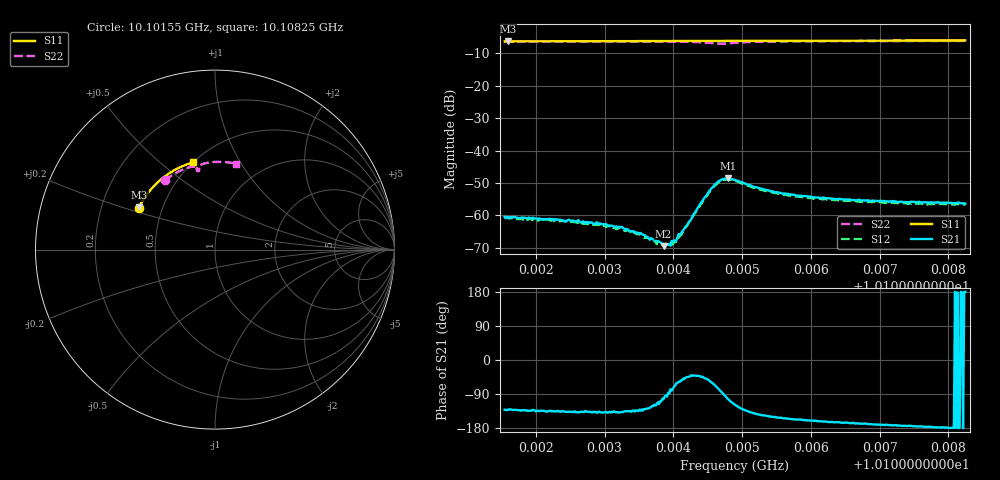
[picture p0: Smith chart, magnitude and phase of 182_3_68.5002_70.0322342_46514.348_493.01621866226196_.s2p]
#  HZ  S  RI  R  50.00
! Rohde & Schwarz Vector Network Analyzer
! Rohde-Schwarz,ZNB20-2Port,1311601062101988,3.16
! Created: UTC 3/20/2024, 4:56:46 PM
! freq[Hz]  re:S11  im:S11  re:S21  im:S21  re:S12  im:S12  re:S22  im:S22
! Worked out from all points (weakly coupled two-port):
!   401 points, 10.10155 GHz to 10.10825 GHz, reference 50 ohm
!   highest |S21| = -48.60 dB at 10.1048 GHz (marker M1); lowest = -69.5 dB at 10.10386 GHz (marker M2)
!   lowest |S11| = -6.3 dB at 10.1016 GHz (marker M3), VSWR 2.87, Z = 18.4 + j11.4 ohm
!   |S11| at or under -10 dB: nowhere
!   |S22| runs from -7.0 to -6.1 dB; largest |S21 - S12| = 0.00038
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1.0101547e10  -0.4235 0.234  -0.000624 -0.000712  -0.000556 -0.00073  -0.2785 0.3861
1.0101597e10  -0.422 0.2367  -0.000605 -0.000712  -0.000547 -0.000742  -0.2761 0.3883
1.0102669e10  -0.3891 0.293  -0.000563 -0.000533  -0.000515 -0.00054  -0.2176 0.4271
1.0103004e10  -0.3774 0.3096  -0.000532 -0.00048  -0.000476 -0.000513  -0.1981 0.4376
1.0103239e10  -0.3688 0.321  -0.000488 -0.000449  -0.000421 -0.000431  -0.1835 0.4443
1.0103356e10  -0.3642 0.3266  -0.000406 -0.000398  -0.000399 -0.000417  -0.1761 0.4474
1.0103557e10  -0.3564 0.336  -0.000348 -0.000367  -0.000272 -0.000379  -0.1632 0.4525
1.0103791e10  -0.3469 0.3466  -0.000174 -0.000353  -0.00013 -0.000338  -0.1472 0.4576
1.0103858e10  -0.3441 0.3496  -7.78e-05 -0.000325  -4.97e-05 -0.000342  -0.1424 0.4589
1.0103959e10  -0.3401 0.3541  7.49e-05 -0.00033  6.73e-05 -0.000346  -0.135 0.4607
1.0104026e10  -0.3372 0.357  0.000146 -0.000361  0.000179 -0.000341  -0.1296 0.4616
1.0104227e10  -0.3287 0.3657  0.000564 -0.000549  0.000625 -0.000468  -0.1129 0.4626
1.0104411e10  -0.3205 0.3733  0.00115 -0.00113  0.00119 -0.000966  -0.0966 0.4583
1.0104579e10  -0.313 0.3801  0.00129 -0.00245  0.00146 -0.00225  -0.0875 0.4453
1.0104679e10  -0.3084 0.3842  0.000539 -0.00339  0.000846 -0.00324  -0.0914 0.4378
1.0104797e10  -0.3033 0.3886  -0.000863 -0.00361  -0.000498 -0.00352  -0.1004 0.44
1.0104897e10  -0.2986 0.3925  -0.00165 -0.00311  -0.00132 -0.00312  -0.1024 0.449
1.0105165e10  -0.2861 0.4028  -0.00213 -0.00175  -0.00188 -0.00188  -0.0882 0.4679
1.010545e10  -0.2722 0.4132  -0.00204 -0.00116  -0.00184 -0.00127  -0.0675 0.4776
1.0106019e10  -0.2435 0.4324  -0.00179 -0.000645  -0.00167 -0.000779  -0.0278 0.4858
1.0107142e10  -0.1834 0.4638  -0.0016 -0.00023  -0.00154 -0.000364  0.0463 0.4882
1.0108248e10  -0.1203 0.4863  -0.00151 4.13e-06  -0.00145 -0.000136  0.1169 0.4789
